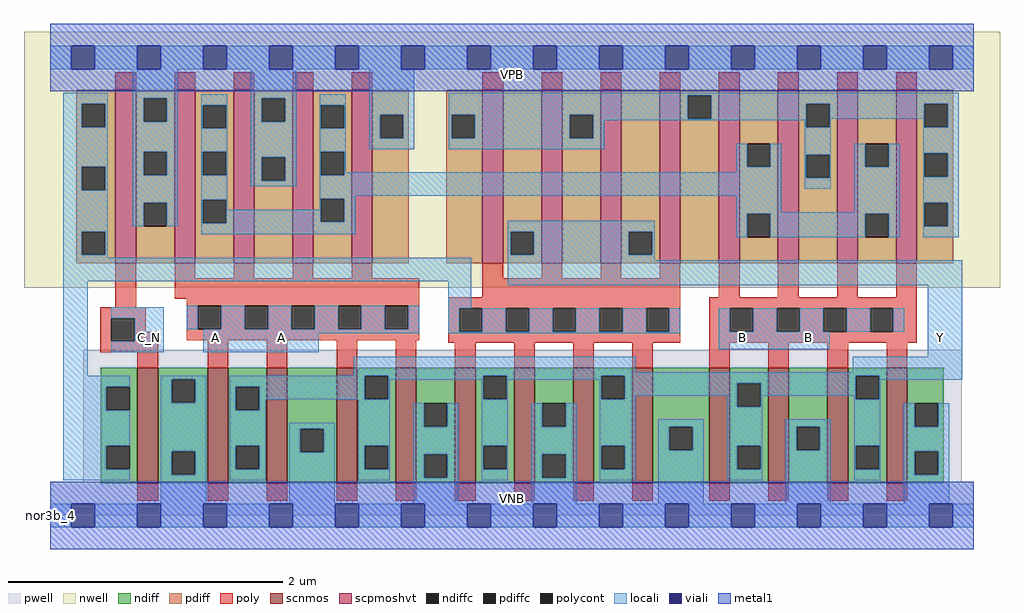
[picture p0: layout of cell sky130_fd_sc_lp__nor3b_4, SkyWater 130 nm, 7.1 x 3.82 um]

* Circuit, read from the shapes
.subckt sky130_fd_sc_lp__nor3b_4 A B C_N VGND VNB VPB VPWR Y
XM1 VGND C_N n1 VNB sky130_fd_pr__nfet_01v8 w=0.84 l=0.15
XM2 Y A VGND VNB sky130_fd_pr__nfet_01v8 w=0.84 l=0.15 m=4
XM3 Y n1 VGND VNB sky130_fd_pr__nfet_01v8 w=0.84 l=0.15 m=4
XM4 Y B VGND VNB sky130_fd_pr__nfet_01v8 w=0.84 l=0.15 m=4
XM5 VPWR C_N n1 VPB sky130_fd_pr__pfet_01v8_hvt w=1.26 l=0.15
XM6 n2 A VPWR VPB sky130_fd_pr__pfet_01v8_hvt w=1.26 l=0.15 m=4
XM7 Y n1 n3 VPB sky130_fd_pr__pfet_01v8_hvt w=1.26 l=0.15 m=4
XM8 n2 B n3 VPB sky130_fd_pr__pfet_01v8_hvt w=1.26 l=0.15 m=4
.ends

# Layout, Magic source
magic
tech sky130A
magscale 1 2
<< nwell >>
rect -38 331 1382 704
<< pwell >>
rect 48 49 1326 241
rect 0 0 1344 49
<< scnmos >>
rect 127 47 157 215
rect 229 47 259 215
rect 315 47 345 215
rect 417 47 447 215
rect 503 47 533 215
rect 589 47 619 215
rect 675 47 705 215
rect 761 47 791 215
rect 847 47 877 215
rect 959 47 989 215
rect 1045 47 1075 215
rect 1131 47 1161 215
rect 1217 47 1247 215
<< scpmoshvt >>
rect 95 367 125 619
rect 181 367 211 619
rect 267 367 297 619
rect 353 367 383 619
rect 439 367 469 619
rect 629 367 659 619
rect 715 367 745 619
rect 801 367 831 619
rect 887 367 917 619
rect 973 367 1003 619
rect 1059 367 1089 619
rect 1145 367 1175 619
rect 1231 367 1261 619
<< ndiff >>
rect 74 187 127 215
rect 74 153 82 187
rect 116 153 127 187
rect 74 101 127 153
rect 74 67 82 101
rect 116 67 127 101
rect 74 47 127 67
rect 157 198 229 215
rect 157 164 177 198
rect 211 164 229 198
rect 157 93 229 164
rect 157 59 177 93
rect 211 59 229 93
rect 157 47 229 59
rect 259 187 315 215
rect 259 153 270 187
rect 304 153 315 187
rect 259 101 315 153
rect 259 67 270 101
rect 304 67 315 101
rect 259 47 315 67
rect 345 126 417 215
rect 345 92 364 126
rect 398 92 417 126
rect 345 47 417 92
rect 447 203 503 215
rect 447 169 458 203
rect 492 169 503 203
rect 447 101 503 169
rect 447 67 458 101
rect 492 67 503 101
rect 447 47 503 67
rect 533 163 589 215
rect 533 129 544 163
rect 578 129 589 163
rect 533 89 589 129
rect 533 55 544 89
rect 578 55 589 89
rect 533 47 589 55
rect 619 203 675 215
rect 619 169 630 203
rect 664 169 675 203
rect 619 101 675 169
rect 619 67 630 101
rect 664 67 675 101
rect 619 47 675 67
rect 705 163 761 215
rect 705 129 716 163
rect 750 129 761 163
rect 705 89 761 129
rect 705 55 716 89
rect 750 55 761 89
rect 705 47 761 55
rect 791 203 847 215
rect 791 169 802 203
rect 836 169 847 203
rect 791 101 847 169
rect 791 67 802 101
rect 836 67 847 101
rect 791 47 847 67
rect 877 129 959 215
rect 877 95 901 129
rect 935 95 959 129
rect 877 47 959 95
rect 989 192 1045 215
rect 989 158 1000 192
rect 1034 158 1045 192
rect 989 101 1045 158
rect 989 67 1000 101
rect 1034 67 1045 101
rect 989 47 1045 67
rect 1075 129 1131 215
rect 1075 95 1086 129
rect 1120 95 1131 129
rect 1075 47 1131 95
rect 1161 203 1217 215
rect 1161 169 1172 203
rect 1206 169 1217 203
rect 1161 101 1217 169
rect 1161 67 1172 101
rect 1206 67 1217 101
rect 1161 47 1217 67
rect 1247 163 1300 215
rect 1247 129 1258 163
rect 1292 129 1300 163
rect 1247 93 1300 129
rect 1247 59 1258 93
rect 1292 59 1300 93
rect 1247 47 1300 59
<< pdiff >>
rect 38 599 95 619
rect 38 565 46 599
rect 80 565 95 599
rect 38 507 95 565
rect 38 473 46 507
rect 80 473 95 507
rect 38 413 95 473
rect 38 379 46 413
rect 80 379 95 413
rect 38 367 95 379
rect 125 607 181 619
rect 125 573 136 607
rect 170 573 181 607
rect 125 529 181 573
rect 125 495 136 529
rect 170 495 181 529
rect 125 455 181 495
rect 125 421 136 455
rect 170 421 181 455
rect 125 367 181 421
rect 211 597 267 619
rect 211 563 222 597
rect 256 563 267 597
rect 211 529 267 563
rect 211 495 222 529
rect 256 495 267 529
rect 211 459 267 495
rect 211 425 222 459
rect 256 425 267 459
rect 211 367 267 425
rect 297 607 353 619
rect 297 573 308 607
rect 342 573 353 607
rect 297 521 353 573
rect 297 487 308 521
rect 342 487 353 521
rect 297 367 353 487
rect 383 597 439 619
rect 383 563 394 597
rect 428 563 439 597
rect 383 529 439 563
rect 383 495 394 529
rect 428 495 439 529
rect 383 461 439 495
rect 383 427 394 461
rect 428 427 439 461
rect 383 367 439 427
rect 469 583 522 619
rect 469 549 480 583
rect 514 549 522 583
rect 469 367 522 549
rect 576 583 629 619
rect 576 549 584 583
rect 618 549 629 583
rect 576 367 629 549
rect 659 413 715 619
rect 659 379 670 413
rect 704 379 715 413
rect 659 367 715 379
rect 745 583 801 619
rect 745 549 756 583
rect 790 549 801 583
rect 745 367 801 549
rect 831 413 887 619
rect 831 379 842 413
rect 876 379 887 413
rect 831 367 887 379
rect 917 611 973 619
rect 917 577 928 611
rect 962 577 973 611
rect 917 367 973 577
rect 1003 541 1059 619
rect 1003 507 1014 541
rect 1048 507 1059 541
rect 1003 439 1059 507
rect 1003 405 1014 439
rect 1048 405 1059 439
rect 1003 367 1059 405
rect 1089 599 1145 619
rect 1089 565 1100 599
rect 1134 565 1145 599
rect 1089 525 1145 565
rect 1089 491 1100 525
rect 1134 491 1145 525
rect 1089 367 1145 491
rect 1175 541 1231 619
rect 1175 507 1186 541
rect 1220 507 1231 541
rect 1175 439 1231 507
rect 1175 405 1186 439
rect 1220 405 1231 439
rect 1175 367 1231 405
rect 1261 599 1314 619
rect 1261 565 1272 599
rect 1306 565 1314 599
rect 1261 527 1314 565
rect 1261 493 1272 527
rect 1306 493 1314 527
rect 1261 455 1314 493
rect 1261 421 1272 455
rect 1306 421 1314 455
rect 1261 367 1314 421
<< ndiffc >>
rect 82 153 116 187
rect 82 67 116 101
rect 177 164 211 198
rect 177 59 211 93
rect 270 153 304 187
rect 270 67 304 101
rect 364 92 398 126
rect 458 169 492 203
rect 458 67 492 101
rect 544 129 578 163
rect 544 55 578 89
rect 630 169 664 203
rect 630 67 664 101
rect 716 129 750 163
rect 716 55 750 89
rect 802 169 836 203
rect 802 67 836 101
rect 901 95 935 129
rect 1000 158 1034 192
rect 1000 67 1034 101
rect 1086 95 1120 129
rect 1172 169 1206 203
rect 1172 67 1206 101
rect 1258 129 1292 163
rect 1258 59 1292 93
<< pdiffc >>
rect 46 565 80 599
rect 46 473 80 507
rect 46 379 80 413
rect 136 573 170 607
rect 136 495 170 529
rect 136 421 170 455
rect 222 563 256 597
rect 222 495 256 529
rect 222 425 256 459
rect 308 573 342 607
rect 308 487 342 521
rect 394 563 428 597
rect 394 495 428 529
rect 394 427 428 461
rect 480 549 514 583
rect 584 549 618 583
rect 670 379 704 413
rect 756 549 790 583
rect 842 379 876 413
rect 928 577 962 611
rect 1014 507 1048 541
rect 1014 405 1048 439
rect 1100 565 1134 599
rect 1100 491 1134 525
rect 1186 507 1220 541
rect 1186 405 1220 439
rect 1272 565 1306 599
rect 1272 493 1306 527
rect 1272 421 1306 455
<< poly >>
rect 95 619 125 645
rect 181 619 211 645
rect 267 619 297 645
rect 353 619 383 645
rect 439 619 469 645
rect 629 619 659 645
rect 715 619 745 645
rect 801 619 831 645
rect 887 619 917 645
rect 973 619 1003 645
rect 1059 619 1089 645
rect 1145 619 1175 645
rect 1231 619 1261 645
rect 95 303 125 367
rect 181 345 211 367
rect 267 345 297 367
rect 353 345 383 367
rect 439 345 469 367
rect 629 345 659 367
rect 715 345 745 367
rect 801 345 831 367
rect 887 345 917 367
rect 181 315 537 345
rect 629 317 917 345
rect 973 317 1003 367
rect 1059 317 1089 367
rect 1145 317 1175 367
rect 1231 317 1261 367
rect 199 305 537 315
rect 73 287 139 303
rect 73 253 89 287
rect 123 267 139 287
rect 199 271 215 305
rect 249 271 283 305
rect 317 271 351 305
rect 385 271 419 305
rect 453 271 487 305
rect 521 271 537 305
rect 123 253 157 267
rect 199 255 537 271
rect 579 301 917 317
rect 579 267 595 301
rect 629 267 663 301
rect 697 267 731 301
rect 765 267 799 301
rect 833 267 867 301
rect 901 267 917 301
rect 73 237 157 253
rect 127 215 157 237
rect 229 215 259 255
rect 315 215 345 255
rect 417 215 447 255
rect 503 215 533 255
rect 579 251 917 267
rect 959 301 1261 317
rect 959 267 989 301
rect 1023 267 1057 301
rect 1091 267 1125 301
rect 1159 267 1193 301
rect 1227 267 1261 301
rect 959 251 1261 267
rect 589 215 619 251
rect 675 215 705 251
rect 761 215 791 251
rect 847 215 877 251
rect 959 215 989 251
rect 1045 215 1075 251
rect 1131 215 1161 251
rect 1217 215 1247 251
rect 127 21 157 47
rect 229 21 259 47
rect 315 21 345 47
rect 417 21 447 47
rect 503 21 533 47
rect 589 21 619 47
rect 675 21 705 47
rect 761 21 791 47
rect 847 21 877 47
rect 959 21 989 47
rect 1045 21 1075 47
rect 1131 21 1161 47
rect 1217 21 1247 47
<< polycont >>
rect 89 253 123 287
rect 215 271 249 305
rect 283 271 317 305
rect 351 271 385 305
rect 419 271 453 305
rect 487 271 521 305
rect 595 267 629 301
rect 663 267 697 301
rect 731 267 765 301
rect 799 267 833 301
rect 867 267 901 301
rect 989 267 1023 301
rect 1057 267 1091 301
rect 1125 267 1159 301
rect 1193 267 1227 301
<< locali >>
rect 0 649 31 683
rect 65 649 127 683
rect 161 649 223 683
rect 257 649 319 683
rect 353 649 415 683
rect 449 649 511 683
rect 545 649 607 683
rect 641 649 703 683
rect 737 649 799 683
rect 833 649 895 683
rect 929 649 991 683
rect 1025 649 1087 683
rect 1121 649 1183 683
rect 1217 649 1279 683
rect 1313 649 1344 683
rect 19 599 84 615
rect 19 565 46 599
rect 80 565 84 599
rect 19 507 84 565
rect 19 473 46 507
rect 80 473 84 507
rect 19 413 84 473
rect 120 607 186 649
rect 120 573 136 607
rect 170 573 186 607
rect 120 529 186 573
rect 120 495 136 529
rect 170 495 186 529
rect 120 455 186 495
rect 120 421 136 455
rect 170 421 186 455
rect 220 597 258 613
rect 220 563 222 597
rect 256 563 258 597
rect 220 529 258 563
rect 220 495 222 529
rect 256 495 258 529
rect 220 459 258 495
rect 292 607 358 649
rect 292 573 308 607
rect 342 573 358 607
rect 292 521 358 573
rect 292 487 308 521
rect 342 487 358 521
rect 292 479 358 487
rect 392 597 430 613
rect 392 563 394 597
rect 428 563 430 597
rect 392 529 430 563
rect 464 583 530 649
rect 464 549 480 583
rect 514 549 530 583
rect 464 533 530 549
rect 580 611 1322 615
rect 580 583 928 611
rect 580 549 584 583
rect 618 549 756 583
rect 790 577 928 583
rect 962 599 1322 611
rect 962 577 1100 599
rect 790 575 1100 577
rect 790 549 806 575
rect 580 533 806 549
rect 1098 565 1100 575
rect 1134 577 1272 599
rect 1134 565 1136 577
rect 392 495 394 529
rect 428 499 430 529
rect 998 507 1014 541
rect 1048 507 1064 541
rect 998 499 1064 507
rect 428 495 1064 499
rect 220 425 222 459
rect 256 445 258 459
rect 392 465 1064 495
rect 1098 525 1136 565
rect 1270 565 1272 577
rect 1306 565 1322 599
rect 1098 491 1100 525
rect 1134 491 1136 525
rect 1098 475 1136 491
rect 1170 507 1186 541
rect 1220 507 1236 541
rect 392 461 444 465
rect 392 445 394 461
rect 256 427 394 445
rect 428 427 444 461
rect 998 441 1064 465
rect 1170 441 1236 507
rect 998 439 1236 441
rect 256 425 444 427
rect 19 379 46 413
rect 80 379 84 413
rect 220 409 444 425
rect 666 413 880 429
rect 19 375 84 379
rect 666 379 670 413
rect 704 379 842 413
rect 876 379 880 413
rect 998 405 1014 439
rect 1048 405 1186 439
rect 1220 405 1236 439
rect 1270 527 1322 565
rect 1270 493 1272 527
rect 1306 493 1322 527
rect 1270 455 1322 493
rect 1270 421 1272 455
rect 1306 421 1322 455
rect 1270 405 1322 421
rect 19 341 613 375
rect 19 203 55 341
rect 89 287 165 303
rect 123 253 165 287
rect 199 271 215 305
rect 249 271 283 305
rect 317 271 351 305
rect 385 271 419 305
rect 453 271 487 305
rect 521 271 537 305
rect 89 237 165 253
rect 223 265 537 271
rect 579 301 613 341
rect 666 371 880 379
rect 666 335 1327 371
rect 579 267 595 301
rect 629 267 663 301
rect 697 267 731 301
rect 765 267 799 301
rect 833 267 867 301
rect 901 267 917 301
rect 579 265 917 267
rect 973 267 989 301
rect 1023 267 1057 301
rect 1091 267 1125 301
rect 1159 267 1193 301
rect 1227 267 1243 301
rect 223 237 391 265
rect 973 242 1134 267
rect 1277 231 1327 335
rect 442 208 852 231
rect 1168 208 1327 231
rect 442 203 1327 208
rect 19 187 116 203
rect 19 153 82 187
rect 19 101 116 153
rect 19 67 82 101
rect 19 51 116 67
rect 161 198 227 203
rect 161 164 177 198
rect 211 164 227 198
rect 161 93 227 164
rect 161 59 177 93
rect 211 59 227 93
rect 161 17 227 59
rect 261 187 458 203
rect 261 153 270 187
rect 304 169 458 187
rect 492 197 630 203
rect 492 169 494 197
rect 304 153 314 169
rect 261 101 314 153
rect 261 67 270 101
rect 304 67 314 101
rect 261 51 314 67
rect 348 126 414 135
rect 348 92 364 126
rect 398 92 414 126
rect 348 17 414 92
rect 448 101 494 169
rect 628 169 630 197
rect 664 197 802 203
rect 664 169 666 197
rect 448 67 458 101
rect 492 67 494 101
rect 448 51 494 67
rect 528 129 544 163
rect 578 129 594 163
rect 528 89 594 129
rect 528 55 544 89
rect 578 55 594 89
rect 528 17 594 55
rect 628 101 666 169
rect 800 169 802 197
rect 836 192 1172 203
rect 836 174 1000 192
rect 836 169 851 174
rect 628 67 630 101
rect 664 67 666 101
rect 628 51 666 67
rect 700 129 716 163
rect 750 129 766 163
rect 700 89 766 129
rect 700 55 716 89
rect 750 55 766 89
rect 700 17 766 55
rect 800 101 851 169
rect 985 158 1000 174
rect 1034 174 1172 192
rect 1034 158 1036 174
rect 800 67 802 101
rect 836 67 851 101
rect 800 51 851 67
rect 885 129 951 140
rect 885 95 901 129
rect 935 95 951 129
rect 885 17 951 95
rect 985 101 1036 158
rect 1170 169 1172 174
rect 1206 197 1327 203
rect 1206 169 1208 197
rect 985 67 1000 101
rect 1034 67 1036 101
rect 985 51 1036 67
rect 1070 129 1136 140
rect 1070 95 1086 129
rect 1120 95 1136 129
rect 1070 17 1136 95
rect 1170 101 1208 169
rect 1170 67 1172 101
rect 1206 67 1208 101
rect 1170 51 1208 67
rect 1242 129 1258 163
rect 1292 129 1308 163
rect 1242 93 1308 129
rect 1242 59 1258 93
rect 1292 59 1308 93
rect 1242 17 1308 59
rect 0 -17 31 17
rect 65 -17 127 17
rect 161 -17 223 17
rect 257 -17 319 17
rect 353 -17 415 17
rect 449 -17 511 17
rect 545 -17 607 17
rect 641 -17 703 17
rect 737 -17 799 17
rect 833 -17 895 17
rect 929 -17 991 17
rect 1025 -17 1087 17
rect 1121 -17 1183 17
rect 1217 -17 1279 17
rect 1313 -17 1344 17
<< viali >>
rect 31 649 65 683
rect 127 649 161 683
rect 223 649 257 683
rect 319 649 353 683
rect 415 649 449 683
rect 511 649 545 683
rect 607 649 641 683
rect 703 649 737 683
rect 799 649 833 683
rect 895 649 929 683
rect 991 649 1025 683
rect 1087 649 1121 683
rect 1183 649 1217 683
rect 1279 649 1313 683
rect 31 -17 65 17
rect 127 -17 161 17
rect 223 -17 257 17
rect 319 -17 353 17
rect 415 -17 449 17
rect 511 -17 545 17
rect 607 -17 641 17
rect 703 -17 737 17
rect 799 -17 833 17
rect 895 -17 929 17
rect 991 -17 1025 17
rect 1087 -17 1121 17
rect 1183 -17 1217 17
rect 1279 -17 1313 17
<< metal1 >>
rect 0 683 1344 715
rect 0 649 31 683
rect 65 649 127 683
rect 161 649 223 683
rect 257 649 319 683
rect 353 649 415 683
rect 449 649 511 683
rect 545 649 607 683
rect 641 649 703 683
rect 737 649 799 683
rect 833 649 895 683
rect 929 649 991 683
rect 1025 649 1087 683
rect 1121 649 1183 683
rect 1217 649 1279 683
rect 1313 649 1344 683
rect 0 617 1344 649
rect 0 17 1344 49
rect 0 -17 31 17
rect 65 -17 127 17
rect 161 -17 223 17
rect 257 -17 319 17
rect 353 -17 415 17
rect 449 -17 511 17
rect 545 -17 607 17
rect 641 -17 703 17
rect 737 -17 799 17
rect 833 -17 895 17
rect 929 -17 991 17
rect 1025 -17 1087 17
rect 1121 -17 1183 17
rect 1217 -17 1279 17
rect 1313 -17 1344 17
rect 0 -49 1344 -17
<< labels >>
flabel pwell s 0 0 1344 49 0 FreeSans 200 0 0 0 VNB
port 5 nsew ground bidirectional
flabel nwell s 0 617 1344 666 0 FreeSans 200 0 0 0 VPB
port 6 nsew power bidirectional
rlabel comment s 0 0 0 0 4 nor3b_4
flabel metal1 s 0 617 1344 666 0 FreeSans 340 0 0 0 VPWR
port 7 nsew power bidirectional
flabel metal1 s 0 0 1344 49 0 FreeSans 340 0 0 0 VGND
port 4 nsew ground bidirectional
flabel locali s 223 242 257 276 0 FreeSans 340 0 0 0 A
port 1 nsew signal input
flabel locali s 319 242 353 276 0 FreeSans 340 0 0 0 A
port 1 nsew signal input
flabel locali s 991 242 1025 276 0 FreeSans 340 0 0 0 B
port 2 nsew signal input
flabel locali s 1087 242 1121 276 0 FreeSans 340 0 0 0 B
port 2 nsew signal input
flabel locali s 127 242 161 276 0 FreeSans 340 0 0 0 C_N
port 3 nsew signal input
flabel locali s 1279 242 1313 276 0 FreeSans 340 0 0 0 Y
port 8 nsew signal output
<< properties >>
string LEFsite unit
string LEFclass CORE
string FIXED_BBOX 0 0 1344 666
string GDS_FILE $PDKPATH/libs.ref/sky130_fd_sc_lp/gds/sky130_fd_sc_lp.gds
string LEFsymmetry X Y R90
string GDS_END 1174280
string GDS_START 1163396
<< end >>
